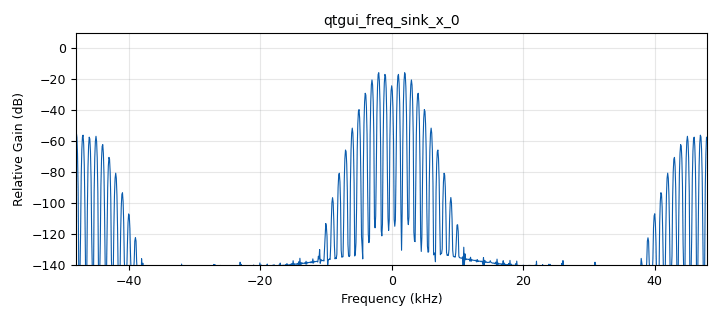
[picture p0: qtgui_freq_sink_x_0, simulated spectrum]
options:
  parameters:
    author: Anton Janovsky (ZR6AIC)
    generate_options: qt_gui
    id: rptx_traqnsmitter
    output_language: python
    title: This is a demo of how to transmit with rpitx
  states: {}

blocks:
- name: samp_rate
  id: variable
  parameters:
    value: '96000'
  states: {}
- name: analog_nbfm_tx_0
  id: analog_nbfm_tx
  parameters:
    audio_rate: '48000'
    fh: '-1.0'
    max_dev: 2.5e3
    quad_rate: samp_rate
    tau: '75e-6'
  states: {}
- name: analog_sig_source_x_0
  id: analog_sig_source_x
  parameters:
    amp: '1'
    freq: '1000'
    offset: '0'
    phase: '0'
    samp_rate: '48000'
    type: float
    waveform: analog.GR_COS_WAVE
  states: {}
- name: qtgui_freq_sink_x_0
  id: qtgui_freq_sink_x
  parameters:
    bw: samp_rate
    fc: '0'
    fftsize: '1024'
    type: complex
    wintype: firdes.WIN_BLACKMAN_hARRIS
  states: {}
- name: rpitx_rpitx_source_0
  id: rpitx_rpitx_source
  parameters:
    carrier_freq: 144.3e6
    samp_rate: samp_rate
  states: {}

connections:
- [analog_nbfm_tx_0, '0', qtgui_freq_sink_x_0, '0']
- [analog_nbfm_tx_0, '0', rpitx_rpitx_source_0, '0']
- [analog_sig_source_x_0, '0', analog_nbfm_tx_0, '0']

metadata:
  file_format: 1
